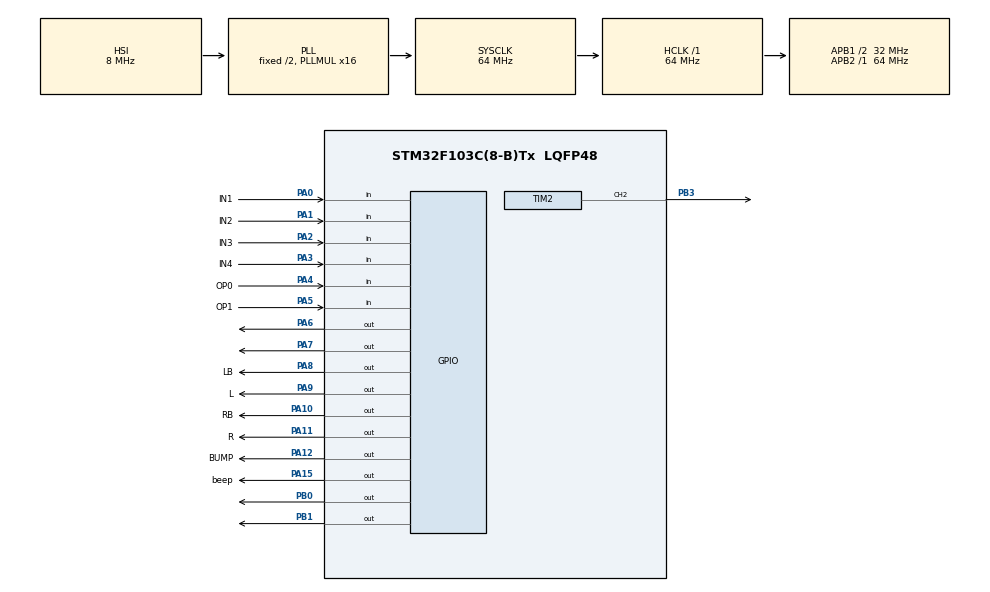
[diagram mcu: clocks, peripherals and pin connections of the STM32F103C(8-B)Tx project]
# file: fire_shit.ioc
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Mcu.Family=STM32F1
Mcu.Name=STM32F103C(8-B)Tx
Mcu.Package=LQFP48
NVIC.PriorityGroup=NVIC_PRIORITYGROUP_4
NVIC.RCC_IRQn=true\:0\:0\:false\:false\:true\:true\:false
NVIC.TIM2_IRQn=true\:0\:0\:false\:false\:true\:true\:true
NVIC.TIM3_IRQn=true\:0\:0\:false\:false\:true\:true\:true
PA0-WKUP.GPIO_Label=IN1
PA0-WKUP.Signal=GPIO_Input
PA1.GPIO_Label=IN2
PA1.Signal=GPIO_Input
PA10.GPIO_Label=RB
PA10.Signal=GPIO_Output
PA11.GPIO_Label=R
PA11.Signal=GPIO_Output
PA12.GPIO_Label=BUMP
PA12.Signal=GPIO_Output
PA13.Mode=Serial_Wire
PA13.Signal=SYS_JTMS-SWDIO
PA14.Mode=Serial_Wire
PA14.Signal=SYS_JTCK-SWCLK
PA15.GPIO_Label=beep
PA15.GPIO_ModeDefaultOutputPP=GPIO_MODE_OUTPUT_PP
PA15.GPIO_PuPd=GPIO_NOPULL
PA15.GPIO_Speed=GPIO_SPEED_FREQ_LOW
PA15.PinState=GPIO_PIN_RESET
PA15.Signal=GPIO_Output
PA2.GPIO_Label=IN3
PA2.Signal=GPIO_Input
PA3.GPIO_Label=IN4
PA3.Signal=GPIO_Input
PA4.GPIO_Label=OP0
PA4.GPIO_Mode=GPIO_MODE_INPUT
PA4.GPIO_PuPd=GPIO_NOPULL
PA4.Signal=GPIO_Input
PA5.GPIO_Label=OP1
PA5.Signal=GPIO_Input
PA6.GPIO_ModeDefaultOutputPP=GPIO_MODE_OUTPUT_PP
PA6.GPIO_PuPd=GPIO_NOPULL
PA6.PinState=GPIO_PIN_RESET
PA6.Signal=GPIO_Output
PA7.GPIO_PuPd=GPIO_NOPULL
PA7.PinState=GPIO_PIN_SET
PA7.Signal=GPIO_Output
PA8.GPIO_Label=LB
PA8.Signal=GPIO_Output
PA9.GPIO_Label=L
PA9.Signal=GPIO_Output
PB0.GPIO_PuPd=GPIO_NOPULL
PB0.PinState=GPIO_PIN_SET
PB0.Signal=GPIO_Output
PB1.GPIO_PuPd=GPIO_NOPULL
PB1.PinState=GPIO_PIN_SET
PB1.Signal=GPIO_Output
PB3.Signal=S_TIM2_CH2
PD0-OSC_IN.Mode=HSE-External-Oscillator
PD0-OSC_IN.Signal=RCC_OSC_IN
PD1-OSC_OUT.Mode=HSE-External-Oscillator
PD1-OSC_OUT.Signal=RCC_OSC_OUT
ProjectManager.HeapSize=0x200
ProjectManager.StackSize=0x400
ProjectManager.TargetToolchain=MDK-ARM V5.32
RCC.AHBFreq_Value=64000000
RCC.APB1CLKDivider=RCC_HCLK_DIV2
RCC.APB1Freq_Value=32000000
RCC.APB1TimFreq_Value=64000000
RCC.APB2Freq_Value=64000000
RCC.APB2TimFreq_Value=64000000
RCC.HCLKFreq_Value=64000000
RCC.PLLMUL=RCC_PLL_MUL16
RCC.SYSCLKFreq_VALUE=64000000
RCC.SYSCLKSource=RCC_SYSCLKSOURCE_PLLCLK
RCC.USBFreq_Value=64000000
SH.S_TIM2_CH2.0=TIM2_CH2,PWM Generation2 CH2
TIM2.AutoReloadPreload=TIM_AUTORELOAD_PRELOAD_ENABLE
TIM2.Channel-PWM\ Generation2\ CH2=TIM_CHANNEL_2
TIM2.Period=19999
TIM2.Prescaler=63
TIM3.Period=10000-1
TIM3.Prescaler=64-1
VP_TIM2_VS_ClockSourceINT.Mode=Internal
VP_TIM3_VS_ClockSourceINT.Mode=Internal
board=custom

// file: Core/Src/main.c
/* USER CODE BEGIN Header */
/**
  ******************************************************************************
  * @file           : main.c
  * @brief          : Main program body
  ******************************************************************************
  * @attention
  *
  * Copyright (c) 2024 STMicroelectronics.
  * All rights reserved.
  *
  * This software is licensed under terms that can be found in the LICENSE file
  * in the root directory of this software component.
  * If no LICENSE file comes with this software, it is provided AS-IS.
  *
  ******************************************************************************
  */
/* USER CODE END Header */
#include "main.h"
#include "tim.h"
#include "gpio.h"

/* USER CODE BEGIN Includes */
#include "motor.h"
#include "FireCon.h"
/* USER CODE END Includes */

/* USER CODE BEGIN PV */
uint16_t time10ms=0;
uint8_t led_slow=0;
uint16_t pwm=800;
uint8_t pwm_dir=0;
/* USER CODE END PV */

void SystemClock_Config(void);

/* USER CODE BEGIN 0 */
void HAL_TIM_PeriodElapsedCallback(TIM_HandleTypeDef *hitm)
{
	if(hitm ->Instance ==TIM3)
	{
		if(fire_state)
		{
			if(++time10ms == 1000)
			{
				time10ms = 0;
				fire_state = 0;
			}
		}
		if(++led_slow==20) led_slow = 0;

		if(fire_state == 0)
		{
			if(pwm_dir == 0)
			{
				pwm+=5;
				if(pwm == 2000) pwm_dir = 1;
			}
			else if(pwm_dir == 1)
			{
				pwm-=5;
				if(pwm == 700) pwm_dir = 0;
			}
			__HAL_TIM_SetCompare(&htim2, TIM_CHANNEL_2, pwm);
		}

	}
}
/* USER CODE END 0 */

int main(void)
{

  /* MCU Configuration--------------------------------------------------------*/

  /* Reset of all peripherals, Initializes the Flash interface and the Systick. */
  HAL_Init();

  /* Configure the system clock */
  SystemClock_Config();

  /* Initialize all configured peripherals */
  MX_GPIO_Init();
  MX_TIM2_Init();
  MX_TIM3_Init();
  /* USER CODE BEGIN 2 */
	HAL_TIM_Base_Start_IT(&htim3);
	HAL_TIM_PWM_Start(&htim2,TIM_CHANNEL_2);
	beep_con(0);
	motor_init();
	led_init();
  /* USER CODE END 2 */

  /* Infinite loop */
  /* USER CODE BEGIN WHILE */
  while (1)
  {
		led_con();
		blue_order();
		water_con();
    /* USER CODE END WHILE */

  }
}

void SystemClock_Config(void)
{
  RCC_OscInitTypeDef RCC_OscInitStruct = {0};
  RCC_ClkInitTypeDef RCC_ClkInitStruct = {0};

  /** Initializes the RCC Oscillators according to the specified parameters
  * in the RCC_OscInitTypeDef structure.
  */
  RCC_OscInitStruct.OscillatorType = RCC_OSCILLATORTYPE_HSI;
  RCC_OscInitStruct.HSIState = RCC_HSI_ON;
  RCC_OscInitStruct.HSICalibrationValue = RCC_HSICALIBRATION_DEFAULT;
  RCC_OscInitStruct.PLL.PLLState = RCC_PLL_ON;
  RCC_OscInitStruct.PLL.PLLSource = RCC_PLLSOURCE_HSI_DIV2;
  RCC_OscInitStruct.PLL.PLLMUL = RCC_PLL_MUL16;
  if (HAL_RCC_OscConfig(&RCC_OscInitStruct) != HAL_OK)
  {
    Error_Handler();
  }
  /** Initializes the CPU, AHB and APB buses clocks
  */
  RCC_ClkInitStruct.ClockType = RCC_CLOCKTYPE_HCLK|RCC_CLOCKTYPE_SYSCLK
                              |RCC_CLOCKTYPE_PCLK1|RCC_CLOCKTYPE_PCLK2;
  RCC_ClkInitStruct.SYSCLKSource = RCC_SYSCLKSOURCE_PLLCLK;
  RCC_ClkInitStruct.AHBCLKDivider = RCC_SYSCLK_DIV1;
  RCC_ClkInitStruct.APB1CLKDivider = RCC_HCLK_DIV2;
  RCC_ClkInitStruct.APB2CLKDivider = RCC_HCLK_DIV1;

  if (HAL_RCC_ClockConfig(&RCC_ClkInitStruct, FLASH_LATENCY_2) != HAL_OK)
  {
    Error_Handler();
  }
}

void Error_Handler(void)
{
  __disable_irq();
  while (1)
  {
  }
}
